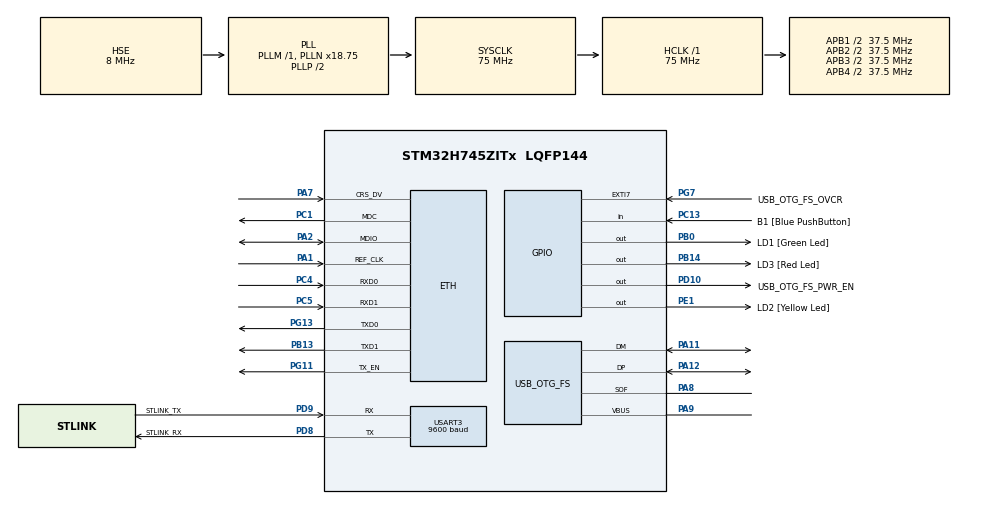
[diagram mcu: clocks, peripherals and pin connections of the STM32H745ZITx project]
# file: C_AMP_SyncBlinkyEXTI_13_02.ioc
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CortexM4.IPs=FATFS_M4\:I,FREERTOS_M4\:I,IWDG2\:I,RCC,WWDG2\:I,DMA,BDMA,MDMA,NVIC2\:I,ETH,DEBUG,USB_DEVICE_M4\:I,USB_HOST_M4\:I,PDM2PCM_M4\:I,PWR,RESMGR_UTILITY,SYS_M4\:I,CORTEX_M4\:I,OPENAMP_M4\:I,VREFBUF,GPIO,USART3
CortexM4.Pins=PB14,PE1
CortexM7.IPs=FATFS_M7\:I,FREERTOS_M7\:I,IWDG1\:I,RCC\:I,WWDG1\:I,DMA\:I,BDMA\:I,MDMA\:I,NVIC1\:I,SYS\:I,USART3\:I,USB_OTG_FS\:I,ETH\:I,CORTEX_M7\:I,DEBUG\:I,USB_DEVICE_M7\:I,USB_HOST_M7\:I,PDM2PCM_M7\:I,PWR\:I,RESMGR_UTILITY\:I,OPENAMP_M7\:I,VREFBUF\:I,GPIO\:I
CortexM7.Pins=PB0
ETH.MediaInterface=HAL_ETH_RMII_MODE
Mcu.Family=STM32H7
Mcu.Name=STM32H745ZITx
Mcu.Package=LQFP144
NVIC1.PriorityGroup=NVIC_PRIORITYGROUP_4
NVIC2.PriorityGroup=NVIC_PRIORITYGROUP_4
PA1.Mode=RMII
PA1.PinAttribute=CortexM7
PA1.Signal=ETH_REF_CLK
PA11.Mode=Device_Only
PA11.PinAttribute=CortexM7
PA11.Signal=USB_OTG_FS_DM
PA12.Mode=Device_Only
PA12.PinAttribute=CortexM7
PA12.Signal=USB_OTG_FS_DP
PA2.Mode=RMII
PA2.PinAttribute=CortexM7
PA2.Signal=ETH_MDIO
PA7.Mode=RMII
PA7.PinAttribute=CortexM7
PA7.Signal=ETH_CRS_DV
PA8.Mode=Activate_SOF_FS
PA8.PinAttribute=CortexM7
PA8.Signal=USB_OTG_FS_SOF
PA9.Mode=Activate_VBUS
PA9.PinAttribute=CortexM7
PA9.Signal=USB_OTG_FS_VBUS
PB0.GPIO_Label=LD1 [Green Led]
PB0.PinAttribute=CortexM7
PB0.Signal=GPIO_Output
PB13.Mode=RMII
PB13.PinAttribute=CortexM7
PB13.Signal=ETH_TXD1
PB14.GPIO_Label=LD3 [Red Led]
PB14.PinAttribute=CortexM4
PB14.Signal=GPIO_Output
PC1.Mode=RMII
PC1.PinAttribute=CortexM7
PC1.Signal=ETH_MDC
PC13.GPIO_Label=B1 [Blue PushButton]
PC13.PinAttribute=Free
PC13.Signal=GPIO_Input
PC14-OSC32_IN\ (OSC32_IN).Mode=LSE-External-Oscillator
PC14-OSC32_IN\ (OSC32_IN).PinAttribute=CortexM7
PC14-OSC32_IN\ (OSC32_IN).Signal=RCC_OSC32_IN
PC15-OSC32_OUT\ (OSC32_OUT).Mode=LSE-External-Oscillator
PC15-OSC32_OUT\ (OSC32_OUT).PinAttribute=CortexM7
PC15-OSC32_OUT\ (OSC32_OUT).Signal=RCC_OSC32_OUT
PC4.Mode=RMII
PC4.PinAttribute=CortexM7
PC4.Signal=ETH_RXD0
PC5.Mode=RMII
PC5.PinAttribute=CortexM7
PC5.Signal=ETH_RXD1
PD10.GPIO_Label=USB_OTG_FS_PWR_EN
PD10.PinAttribute=Free
PD10.Signal=GPIO_Output
PD8.GPIO_Label=STLINK_RX
PD8.Mode=Asynchronous
PD8.PinAttribute=CortexM7
PD8.Signal=USART3_TX
PD9.GPIO_Label=STLINK_TX
PD9.Mode=Asynchronous
PD9.PinAttribute=CortexM7
PD9.Signal=USART3_RX
PE1.GPIO_Label=LD2 [Yellow Led]
PE1.PinAttribute=CortexM4
PE1.Signal=GPIO_Output
PG11.Mode=RMII
PG11.PinAttribute=CortexM7
PG11.Signal=ETH_TX_EN
PG13.Mode=RMII
PG13.PinAttribute=CortexM7
PG13.Signal=ETH_TXD0
PG7.GPIO_Label=USB_OTG_FS_OVCR
PG7.PinAttribute=Free
PG7.Signal=GPXTI7
PH0-OSC_IN\ (PH0).Mode=HSE-External-Clock-Source
PH0-OSC_IN\ (PH0).PinAttribute=CortexM7
PH0-OSC_IN\ (PH0).Signal=RCC_OSC_IN
PH1-OSC_OUT\ (PH1).PinAttribute=CortexM7
PH1-OSC_OUT\ (PH1).Signal=RCC_OSC_OUT
ProjectManager.HeapSize=M4-0x200,M7-0x200
ProjectManager.StackSize=M4-0x400,M7-0x400
ProjectManager.TargetToolchain=STM32CubeIDE
RCC.ADCFreq_Value=16125000
RCC.APB1Freq_Value=37500000
RCC.APB2Freq_Value=37500000
RCC.APB3Freq_Value=37500000
RCC.APB4Freq_Value=37500000
RCC.CortexFreq_Value=75000000
RCC.D1PPRE=RCC_APB3_DIV2
RCC.D2PPRE1=RCC_APB1_DIV2
RCC.D2PPRE2=RCC_APB2_DIV2
RCC.D3PPRE=RCC_APB4_DIV2
RCC.DIVM1=1
RCC.DIVM3=1
RCC.DIVN1=18
RCC.DIVN3=18
RCC.DIVQ3=3
RCC.HCLKFreq_Value=75000000
RCC.HSE_VALUE=8000000
RCC.PLL2FRACN=0
RCC.PLL3FRACN=6144
RCC.PLLFRACN=6144
RCC.SYSCLKFreq_VALUE=75000000
RCC.SYSCLKSource=RCC_SYSCLKSOURCE_PLLCLK
RCC.SupplySource=PWR_DIRECT_SMPS_SUPPLY
RCC.USBCLockSelection=RCC_USBCLKSOURCE_PLL3
RCC.USBFreq_Value=50000000
USART3.BaudRate=9600
USART3.VirtualMode-Asynchronous=VM_ASYNC
USB_OTG_FS.VirtualMode=Device_Only
VP_SYS_M4_VS_Systick.Mode=SysTick
board=NUCLEO-H745ZI-Q

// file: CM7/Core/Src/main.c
/* USER CODE BEGIN Header */
/**
  ******************************************************************************
  * @file           : main.c
  * @brief          : Main program body
  ******************************************************************************
  * @attention
  *
  * Copyright (c) 2023 STMicroelectronics.
  * All rights reserved.
  *
  * This software is licensed under terms that can be found in the LICENSE file
  * in the root directory of this software component.
  * If no LICENSE file comes with this software, it is provided AS-IS.
  *
  ******************************************************************************
  */
/* USER CODE END Header */
#include "main.h"
#include "string.h"

/* USER CODE BEGIN PD */

#ifndef HSEM_ID_0
#define HSEM_ID_0 (0U) /* HW semaphore 0*/
#endif

/* USER CODE END PD */

#if defined ( __ICCARM__ ) /*!< IAR Compiler */
#pragma location=0x30000000
ETH_DMADescTypeDef  DMARxDscrTab[ETH_RX_DESC_CNT]; /* Ethernet Rx DMA Descriptors */
#pragma location=0x30000200
ETH_DMADescTypeDef  DMATxDscrTab[ETH_TX_DESC_CNT]; /* Ethernet Tx DMA Descriptors */

#elif defined ( __CC_ARM )  /* MDK ARM Compiler */

__attribute__((at(0x30000000))) ETH_DMADescTypeDef  DMARxDscrTab[ETH_RX_DESC_CNT]; /* Ethernet Rx DMA Descriptors */
__attribute__((at(0x30000200))) ETH_DMADescTypeDef  DMATxDscrTab[ETH_TX_DESC_CNT]; /* Ethernet Tx DMA Descriptors */

#elif defined ( __GNUC__ ) /* GNU Compiler */
ETH_DMADescTypeDef DMARxDscrTab[ETH_RX_DESC_CNT] __attribute__((section(".RxDecripSection"))); /* Ethernet Rx DMA Descriptors */
ETH_DMADescTypeDef DMATxDscrTab[ETH_TX_DESC_CNT] __attribute__((section(".TxDecripSection")));   /* Ethernet Tx DMA Descriptors */

#endif

ETH_TxPacketConfig TxConfig;

ETH_HandleTypeDef heth;

UART_HandleTypeDef huart3;

PCD_HandleTypeDef hpcd_USB_OTG_FS;

void SystemClock_Config(void);
static void MX_GPIO_Init(void);
static void MX_ETH_Init(void);
static void MX_USART3_UART_Init(void);
static void MX_USB_OTG_FS_PCD_Init(void);

int main(void)
{
/* USER CODE BEGIN Boot_Mode_Sequence_0 */
  int32_t timeout;
/* USER CODE END Boot_Mode_Sequence_0 */

/* USER CODE BEGIN Boot_Mode_Sequence_1 */
  /* Wait until CPU2 boots and enters in stop mode or timeout*/
  timeout = 0xFFFF;
  while((__HAL_RCC_GET_FLAG(RCC_FLAG_D2CKRDY) != RESET) && (timeout-- > 0));
  if ( timeout < 0 )
  {
  Error_Handler();
  }
/* USER CODE END Boot_Mode_Sequence_1 */
  /* MCU Configuration--------------------------------------------------------*/

  /* Reset of all peripherals, Initializes the Flash interface and the Systick. */
  HAL_Init();

  /* Configure the system clock */
  SystemClock_Config();
/* USER CODE BEGIN Boot_Mode_Sequence_2 */
/* When system initialization is finished, Cortex-M7 will release Cortex-M4 by means of
HSEM notification */
/*HW semaphore Clock enable*/
__HAL_RCC_HSEM_CLK_ENABLE();
/*Take HSEM */
HAL_HSEM_FastTake(HSEM_ID_0);
/*Release HSEM in order to notify the CPU2(CM4)*/
HAL_HSEM_Release(HSEM_ID_0,0);
/* wait until CPU2 wakes up from stop mode */
timeout = 0xFFFF;
while((__HAL_RCC_GET_FLAG(RCC_FLAG_D2CKRDY) == RESET) && (timeout-- > 0));
if ( timeout < 0 )
{
Error_Handler();
}
/* USER CODE END Boot_Mode_Sequence_2 */

  /* Initialize all configured peripherals */
  MX_GPIO_Init();
  MX_ETH_Init();
  MX_USART3_UART_Init();
  MX_USB_OTG_FS_PCD_Init();
  /* USER CODE BEGIN 2 */
  uint32_t lastGetTick;
  uint8_t TakeSem = 1;
  HAL_StatusTypeDef res;
  /* USER CODE END 2 */

  /* Infinite loop */
  while (1)
  {

    /* USER CODE BEGIN 3 */
	if((HAL_GetTick() - lastGetTick) >= 500) {
		if(TakeSem) {
			res = HAL_HSEM_Take(1, 7);
			HAL_GPIO_TogglePin(LD1_GPIO_Port, LD1_Pin);
			HAL_GPIO_WritePin(LD1_GPIO_Port, LD1_Pin, GPIO_PIN_SET);
			TakeSem = 0;
		} else {
			HAL_HSEM_Release(1,  7);
			TakeSem = 1;
			HAL_GPIO_WritePin(LD1_GPIO_Port, LD1_Pin, GPIO_PIN_RESET);

			HAL_EXTI_D1_EventInputConfig(EXTI_LINE0, EXTI_MODE_IT, DISABLE); // disable interrupt receival on CM7
			HAL_EXTI_D2_EventInputConfig(EXTI_LINE0, EXTI_MODE_IT, ENABLE);  // enable interrupt receival on CM4
			HAL_EXTI_GenerateSWInterrupt(EXTI_LINE0); // trigger software interrupt from CM7 to CM4
		}

		lastGetTick = HAL_GetTick();
	}
  }
  /* USER CODE END 3 */
}

void SystemClock_Config(void)
{
  RCC_OscInitTypeDef RCC_OscInitStruct = {0};
  RCC_ClkInitTypeDef RCC_ClkInitStruct = {0};

  /** Supply configuration update enable
  */
  HAL_PWREx_ConfigSupply(PWR_DIRECT_SMPS_SUPPLY);

  /** Configure the main internal regulator output voltage
  */
  __HAL_PWR_VOLTAGESCALING_CONFIG(PWR_REGULATOR_VOLTAGE_SCALE3);

  while(!__HAL_PWR_GET_FLAG(PWR_FLAG_VOSRDY)) {}

  /** Initializes the RCC Oscillators according to the specified parameters
  * in the RCC_OscInitTypeDef structure.
  */
  RCC_OscInitStruct.OscillatorType = RCC_OSCILLATORTYPE_HSE;
  RCC_OscInitStruct.HSEState = RCC_HSE_BYPASS;
  RCC_OscInitStruct.PLL.PLLState = RCC_PLL_ON;
  RCC_OscInitStruct.PLL.PLLSource = RCC_PLLSOURCE_HSE;
  RCC_OscInitStruct.PLL.PLLM = 1;
  RCC_OscInitStruct.PLL.PLLN = 18;
  RCC_OscInitStruct.PLL.PLLP = 2;
  RCC_OscInitStruct.PLL.PLLQ = 2;
  RCC_OscInitStruct.PLL.PLLR = 2;
  RCC_OscInitStruct.PLL.PLLRGE = RCC_PLL1VCIRANGE_3;
  RCC_OscInitStruct.PLL.PLLVCOSEL = RCC_PLL1VCOMEDIUM;
  RCC_OscInitStruct.PLL.PLLFRACN = 6144;
  if (HAL_RCC_OscConfig(&RCC_OscInitStruct) != HAL_OK)
  {
    Error_Handler();
  }

  /** Initializes the CPU, AHB and APB buses clocks
  */
  RCC_ClkInitStruct.ClockType = RCC_CLOCKTYPE_HCLK|RCC_CLOCKTYPE_SYSCLK
                              |RCC_CLOCKTYPE_PCLK1|RCC_CLOCKTYPE_PCLK2
                              |RCC_CLOCKTYPE_D3PCLK1|RCC_CLOCKTYPE_D1PCLK1;
  RCC_ClkInitStruct.SYSCLKSource = RCC_SYSCLKSOURCE_PLLCLK;
  RCC_ClkInitStruct.SYSCLKDivider = RCC_SYSCLK_DIV1;
  RCC_ClkInitStruct.AHBCLKDivider = RCC_HCLK_DIV1;
  RCC_ClkInitStruct.APB3CLKDivider = RCC_APB3_DIV2;
  RCC_ClkInitStruct.APB1CLKDivider = RCC_APB1_DIV2;
  RCC_ClkInitStruct.APB2CLKDivider = RCC_APB2_DIV2;
  RCC_ClkInitStruct.APB4CLKDivider = RCC_APB4_DIV2;

  if (HAL_RCC_ClockConfig(&RCC_ClkInitStruct, FLASH_LATENCY_1) != HAL_OK)
  {
    Error_Handler();
  }
}

static void MX_ETH_Init(void)
{

   static uint8_t MACAddr[6];

  heth.Instance = ETH;
  MACAddr[0] = 0x00;
  MACAddr[1] = 0x80;
  MACAddr[2] = 0xE1;
  MACAddr[3] = 0x00;
  MACAddr[4] = 0x00;
  MACAddr[5] = 0x00;
  heth.Init.MACAddr = &MACAddr[0];
  heth.Init.MediaInterface = HAL_ETH_RMII_MODE;
  heth.Init.TxDesc = DMATxDscrTab;
  heth.Init.RxDesc = DMARxDscrTab;
  heth.Init.RxBuffLen = 1524;

  if (HAL_ETH_Init(&heth) != HAL_OK)
  {
    Error_Handler();
  }

  memset(&TxConfig, 0 , sizeof(ETH_TxPacketConfig));
  TxConfig.Attributes = ETH_TX_PACKETS_FEATURES_CSUM | ETH_TX_PACKETS_FEATURES_CRCPAD;
  TxConfig.ChecksumCtrl = ETH_CHECKSUM_IPHDR_PAYLOAD_INSERT_PHDR_CALC;
  TxConfig.CRCPadCtrl = ETH_CRC_PAD_INSERT;

}

static void MX_USART3_UART_Init(void)
{

  huart3.Instance = USART3;
  huart3.Init.BaudRate = 9600;
  huart3.Init.WordLength = UART_WORDLENGTH_8B;
  huart3.Init.StopBits = UART_STOPBITS_1;
  huart3.Init.Parity = UART_PARITY_NONE;
  huart3.Init.Mode = UART_MODE_TX_RX;
  huart3.Init.HwFlowCtl = UART_HWCONTROL_NONE;
  huart3.Init.OverSampling = UART_OVERSAMPLING_16;
  huart3.Init.OneBitSampling = UART_ONE_BIT_SAMPLE_DISABLE;
  huart3.Init.ClockPrescaler = UART_PRESCALER_DIV1;
  huart3.AdvancedInit.AdvFeatureInit = UART_ADVFEATURE_NO_INIT;
  if (HAL_UART_Init(&huart3) != HAL_OK)
  {
    Error_Handler();
  }
  if (HAL_UARTEx_SetTxFifoThreshold(&huart3, UART_TXFIFO_THRESHOLD_1_8) != HAL_OK)
  {
    Error_Handler();
  }
  if (HAL_UARTEx_SetRxFifoThreshold(&huart3, UART_RXFIFO_THRESHOLD_1_8) != HAL_OK)
  {
    Error_Handler();
  }
  if (HAL_UARTEx_DisableFifoMode(&huart3) != HAL_OK)
  {
    Error_Handler();
  }

}

static void MX_USB_OTG_FS_PCD_Init(void)
{

  hpcd_USB_OTG_FS.Instance = USB_OTG_FS;
  hpcd_USB_OTG_FS.Init.dev_endpoints = 9;
  hpcd_USB_OTG_FS.Init.speed = PCD_SPEED_FULL;
  hpcd_USB_OTG_FS.Init.dma_enable = DISABLE;
  hpcd_USB_OTG_FS.Init.phy_itface = PCD_PHY_EMBEDDED;
  hpcd_USB_OTG_FS.Init.Sof_enable = DISABLE;
  hpcd_USB_OTG_FS.Init.low_power_enable = DISABLE;
  hpcd_USB_OTG_FS.Init.lpm_enable = DISABLE;
  hpcd_USB_OTG_FS.Init.battery_charging_enable = ENABLE;
  hpcd_USB_OTG_FS.Init.vbus_sensing_enable = ENABLE;
  hpcd_USB_OTG_FS.Init.use_dedicated_ep1 = DISABLE;
  if (HAL_PCD_Init(&hpcd_USB_OTG_FS) != HAL_OK)
  {
    Error_Handler();
  }

}

static void MX_GPIO_Init(void)
{
  GPIO_InitTypeDef GPIO_InitStruct = {0};

  /* GPIO Ports Clock Enable */
  __HAL_RCC_GPIOC_CLK_ENABLE();
  __HAL_RCC_GPIOH_CLK_ENABLE();
  __HAL_RCC_GPIOA_CLK_ENABLE();
  __HAL_RCC_GPIOB_CLK_ENABLE();
  __HAL_RCC_GPIOD_CLK_ENABLE();
  __HAL_RCC_GPIOG_CLK_ENABLE();

  /*Configure GPIO pin Output Level */
  HAL_GPIO_WritePin(LD1_GPIO_Port, LD1_Pin, GPIO_PIN_RESET);

  /*Configure GPIO pin : LD1_Pin */
  GPIO_InitStruct.Pin = LD1_Pin;
  GPIO_InitStruct.Mode = GPIO_MODE_OUTPUT_PP;
  GPIO_InitStruct.Pull = GPIO_NOPULL;
  GPIO_InitStruct.Speed = GPIO_SPEED_FREQ_LOW;
  HAL_GPIO_Init(LD1_GPIO_Port, &GPIO_InitStruct);

}

void Error_Handler(void)
{
  __disable_irq();
  while (1)
  {
  }
}
